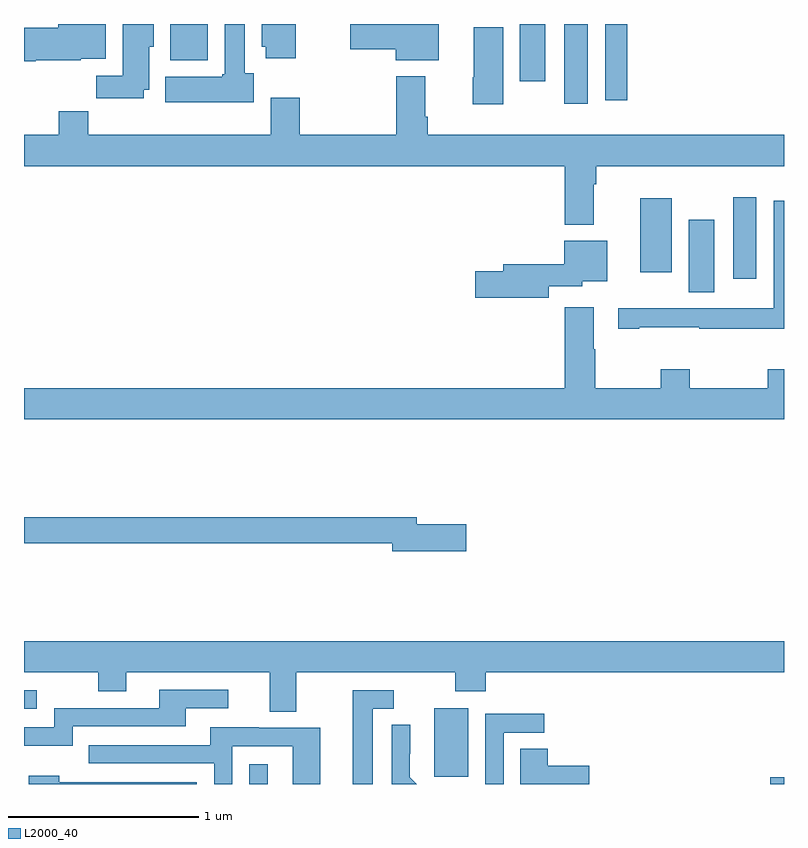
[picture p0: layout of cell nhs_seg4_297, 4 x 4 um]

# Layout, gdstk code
import gdstk
lib = gdstk.Library(unit=1e-6, precision=1e-09)
def R(c, l, rs):  # rectangles x0, y0, x1, y1
    for r in rs: c.add(gdstk.rectangle(r[:2], r[2:], *l))
def P(c, l, *ps):  # polygons
    for p in ps: c.add(gdstk.Polygon(p, *l))
L2000_40 = (2000, 40)

nhs_seg4_297 = lib.new_cell('nhs_seg4_297')
R(nhs_seg4_297, L2000_40, [(126.186,794.9,126.283,795.004), (128.928,794.9,129,794.936), (127.16,794.937,127.339,795.298), (125,795.297,125.068,795.393), (128.498,797.488,128.632,797.869), (128.732,797.559,128.854,797.989), (128.243,797.594,128.41,797.983), (127.844,798.48,127.966,798.9), (128.058,798.498,128.174,798.9), (127.61,798.6,127.744,798.9), (125.771,798.71,125.968,798.9)])
P(nhs_seg4_297, L2000_40, [(126.43,798.9),(126.251,798.9),(126.251,798.78),(126.272,798.78),(126.272,798.72),(126.43,798.72)],
  [(125.062,798.71),(125.298,798.71),(125.298,798.716),(125.431,798.716),(125.431,798.9),(125.18,798.9),(125.18,798.881),(125,798.881),(125,798.703),(125.062,798.703)],
  [(126.208,798.642),(126.163,798.642),(126.163,798.9),(126.056,798.9),(126.056,798.636),(126.043,798.636),(126.043,798.622),(125.744,798.622),(125.744,798.488),(126.208,798.488)],
  [(127.183,798.9),(126.716,798.9),(126.716,798.767),(126.956,798.767),(126.956,798.71),(127.183,798.71)],
  [(125.629,798.554),(125.659,798.554),(125.659,798.78),(125.683,798.78),(125.683,798.9),(125.519,798.9),(125.519,798.628),(125.38,798.628),(125.38,798.51),(125.629,798.51)],
  [(127.522,798.883),(127.367,798.883),(127.367,798.621),(127.361,798.621),(127.361,798.477),(127.522,798.477)],
  [(127.999,798.056),(128.012,798.056),(128.012,798.152),(129,798.152),(129,798.316),(127.124,798.316),(127.124,798.412),(127.111,798.412),(127.111,798.625),(126.959,798.625),(126.959,798.316),(126.452,798.316),(126.452,798.511),(126.299,798.511),(126.299,798.316),(125.339,798.316),(125.339,798.44),(125.183,798.44),(125.183,798.316),(125,798.316),(125,798.152),(127.847,798.152),(127.847,797.843),(127.999,797.843)],
  [(128.239,797.305),(128.555,797.305),(128.555,797.295),(128.97,797.295),(128.97,797.297),(129,797.297),(129,797.971),(128.946,797.971),(128.946,797.404),(128.736,797.404),(128.736,797.403),(128.402,797.403),(128.402,797.405),(128.127,797.405),(128.127,797.295),(128.239,797.295)],
  [(127.762,797.52),(127.938,797.52),(127.938,797.546),(128.071,797.546),(128.071,797.758),(127.844,797.758),(127.844,797.636),(127.523,797.636),(127.523,797.6),(127.374,797.6),(127.374,797.458),(127.762,797.458)],
  [(129,797.083),(128.914,797.083),(128.914,796.984),(128.505,796.984),(128.505,797.083),(128.35,797.083),(128.35,796.984),(128.007,796.984),(128.007,797.189),(127.999,797.189),(127.999,797.41),(127.847,797.41),(127.847,796.984),(125,796.984),(125,796.82),(129,796.82)],
  [(127.327,796.268),(127.066,796.268),(127.066,796.304),(125,796.304),(125,796.168),(126.938,796.168),(126.938,796.126),(127.327,796.126)],
  [(125,795.488),(125.392,795.488),(125.392,795.389),(125.539,795.389),(125.539,795.488),(126.293,795.488),(126.293,795.28),(126.433,795.28),(126.433,795.488),(127.27,795.488),(127.27,795.389),(127.43,795.389),(127.43,795.488),(129,795.488),(129,795.652),(125,795.652)],
  [(125.256,795.204),(125.851,795.204),(125.851,795.3),(126.076,795.3),(126.076,795.396),(125.711,795.396),(125.711,795.3),(125.16,795.3),(125.16,795.198),(125,795.198),(125,795.101),(125.256,795.101)],
  [(126.835,795.297),(126.946,795.297),(126.946,795.393),(126.731,795.393),(126.731,794.9),(126.835,794.9)],
  [(127.524,795.171),(127.738,795.171),(127.738,795.27),(127.428,795.27),(127.428,794.9),(127.524,794.9)],
  [(127.031,794.936),(127.031,795.058),(127.032,795.058),(127.032,795.212),(126.936,795.212),(126.936,794.9),(127.066,794.9)],
  [(126.096,795.099),(126.414,795.099),(126.414,794.9),(126.559,794.9),(126.559,795.195),(126.235,795.195),(126.235,795.199),(125.981,795.199),(125.981,795.105),(125.341,795.105),(125.341,795.009),(126,795.009),(126,794.9),(126.096,794.9)],
  [(127.975,794.996),(127.757,794.996),(127.757,795.086),(127.613,795.086),(127.613,794.9),(127.975,794.9)],
  [(125.91,794.91),(125.186,794.91),(125.186,794.944),(125.025,794.944),(125.025,794.9),(125.91,794.9)])

lib.write_gds('nhs_seg4_297.gds')
